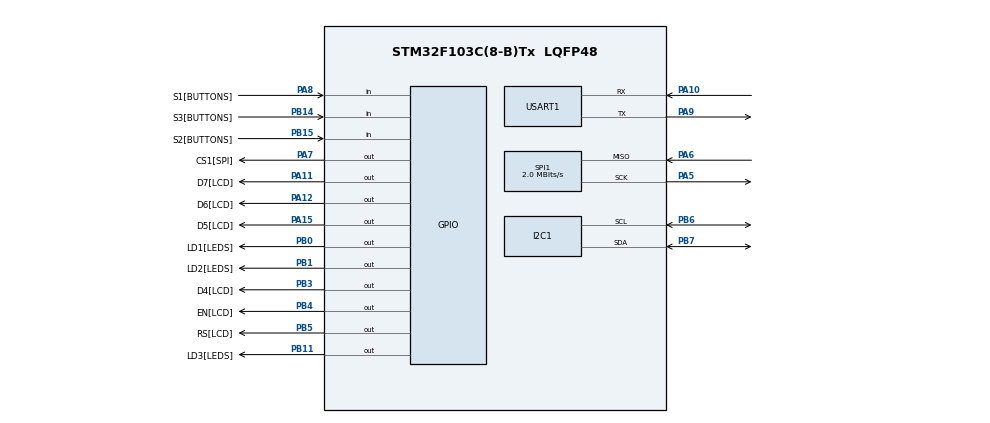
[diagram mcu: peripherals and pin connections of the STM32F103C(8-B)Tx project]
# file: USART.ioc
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I2C1.I2C_Mode=I2C_Standard
Mcu.Family=STM32F1
Mcu.Name=STM32F103C(8-B)Tx
Mcu.Package=LQFP48
NVIC.PriorityGroup=NVIC_PRIORITYGROUP_4
PA10.Mode=Asynchronous
PA10.Signal=USART1_RX
PA11.GPIO_Label=D7[LCD]
PA11.Signal=GPIO_Output
PA12.GPIO_Label=D6[LCD]
PA12.Signal=GPIO_Output
PA13.Mode=Serial_Wire
PA13.Signal=SYS_JTMS-SWDIO
PA14.Mode=Serial_Wire
PA14.Signal=SYS_JTCK-SWCLK
PA15.GPIO_Label=D5[LCD]
PA15.Signal=GPIO_Output
PA5.Mode=RX_Only_Simplex_Unidirect_Master
PA5.Signal=SPI1_SCK
PA6.Mode=RX_Only_Simplex_Unidirect_Master
PA6.Signal=SPI1_MISO
PA7.GPIO_Label=CS1[SPI]
PA7.Signal=GPIO_Output
PA8.GPIO_Label=S1[BUTTONS]
PA8.Signal=GPIO_Input
PA9.Mode=Asynchronous
PA9.Signal=USART1_TX
PB0.GPIO_Label=LD1[LEDS]
PB0.Signal=GPIO_Output
PB1.GPIO_Label=LD2[LEDS]
PB1.Signal=GPIO_Output
PB11.GPIO_Label=LD3[LEDS]
PB11.Signal=GPIO_Output
PB14.GPIO_Label=S3[BUTTONS]
PB14.Signal=GPIO_Input
PB15.GPIO_Label=S2[BUTTONS]
PB15.Signal=GPIO_Input
PB3.GPIO_Label=D4[LCD]
PB3.Signal=GPIO_Output
PB4.GPIO_Label=EN[LCD]
PB4.Signal=GPIO_Output
PB5.GPIO_Label=RS[LCD]
PB5.Signal=GPIO_Output
PB6.Mode=I2C
PB6.Signal=I2C1_SCL
PB7.Mode=I2C
PB7.Signal=I2C1_SDA
ProjectManager.HeapSize=0x200
ProjectManager.StackSize=0x400
ProjectManager.TargetToolchain=TrueSTUDIO
RCC.APB1Freq_Value=8000000
RCC.APB2Freq_Value=8000000
SPI1.BaudRatePrescaler=SPI_BAUDRATEPRESCALER_4
SPI1.CLKPhase=SPI_PHASE_1EDGE
SPI1.CalculateBaudRate=2.0 MBits/s
SPI1.DataSize=SPI_DATASIZE_16BIT
SPI1.Direction=SPI_DIRECTION_2LINES_RXONLY
SPI1.Mode=SPI_MODE_MASTER
SPI1.VirtualType=VM_MASTER
USART1.VirtualMode=VM_ASYNC
board=USART

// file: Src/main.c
/**
  ******************************************************************************
  * @file           : main.c
  * @brief          : Main program body
  ******************************************************************************
  ** This notice applies to any and all portions of this file
  * that are not between comment pairs USER CODE BEGIN and
  * USER CODE END. Other portions of this file, whether
  * inserted by the user or by software development tools
  * are owned by their respective copyright owners.
  *
  * COPYRIGHT(c) 2018 STMicroelectronics
  *
  * Redistribution and use in source and binary forms, with or without modification,
  * are permitted provided that the following conditions are met:
  *   1. Redistributions of source code must retain the above copyright notice,
  *      this list of conditions and the following disclaimer.
  *   2. Redistributions in binary form must reproduce the above copyright notice,
  *      this list of conditions and the following disclaimer in the documentation
  *      and/or other materials provided with the distribution.
  *   3. Neither the name of STMicroelectronics nor the names of its contributors
  *      may be used to endorse or promote products derived from this software
  *      without specific prior written permission.
  *
  * THIS SOFTWARE IS PROVIDED BY THE COPYRIGHT HOLDERS AND CONTRIBUTORS "AS IS"
  * AND ANY EXPRESS OR IMPLIED WARRANTIES, INCLUDING, BUT NOT LIMITED TO, THE
  * IMPLIED WARRANTIES OF MERCHANTABILITY AND FITNESS FOR A PARTICULAR PURPOSE ARE
  * DISCLAIMED. IN NO EVENT SHALL THE COPYRIGHT HOLDER OR CONTRIBUTORS BE LIABLE
  * FOR ANY DIRECT, INDIRECT, INCIDENTAL, SPECIAL, EXEMPLARY, OR CONSEQUENTIAL
  * DAMAGES (INCLUDING, BUT NOT LIMITED TO, PROCUREMENT OF SUBSTITUTE GOODS OR
  * SERVICES; LOSS OF USE, DATA, OR PROFITS; OR BUSINESS INTERRUPTION) HOWEVER
  * CAUSED AND ON ANY THEORY OF LIABILITY, WHETHER IN CONTRACT, STRICT LIABILITY,
  * OR TORT (INCLUDING NEGLIGENCE OR OTHERWISE) ARISING IN ANY WAY OUT OF THE USE
  * OF THIS SOFTWARE, EVEN IF ADVISED OF THE POSSIBILITY OF SUCH DAMAGE.
  *
  ******************************************************************************
  */
#include "main.h"
#include "stm32f1xx_hal.h"

/* USER CODE BEGIN Includes */

#include <stdio.h>      /* printf, fgets */
#include <stdlib.h>     /* atoi */
#include <string.h>

/* USER CODE END Includes */

I2C_HandleTypeDef hi2c1;

SPI_HandleTypeDef hspi1;

UART_HandleTypeDef huart1;

/* USER CODE BEGIN PV */
/* Private variables ---------------------------------------------------------*/

uint8_t data[4]={'D','S','F',10};
uint8_t ex_data[2]={0x40,0x0A};
uint8_t storage[10];
char keyword[20]="LNNANO DSF 2018";
char readBuf[1];
char opt;

/* USER CODE END PV */

void SystemClock_Config(void);
static void MX_GPIO_Init(void);
static void MX_I2C1_Init(void);
static void MX_SPI1_Init(void);
static void MX_USART1_UART_Init(void);

/* USER CODE BEGIN PFP */
/* Private function prototypes -----------------------------------------------*/

char read_uart(){
	HAL_UART_Receive(&huart1, (uint8_t*)readBuf, 1, HAL_MAX_DELAY);
	return atoi(readBuf);
}

/* USER CODE END PFP */

/* USER CODE BEGIN 0 */

void write_lcd (uint8_t data, uint8_t cmd_data)
{
	// identifica comando ou dado
	if (cmd_data) HAL_GPIO_WritePin(RS_GPIO_Port, RS_Pin, GPIO_PIN_SET);
	else 					HAL_GPIO_WritePin(RS_GPIO_Port, RS_Pin, GPIO_PIN_RESET);

	// 4 bits high
	if (data & 0x80) HAL_GPIO_WritePin (D7_GPIO_Port, D7_Pin, GPIO_PIN_SET);
	else						 HAL_GPIO_WritePin (D7_GPIO_Port, D7_Pin, GPIO_PIN_RESET);
	if (data & 0x40) HAL_GPIO_WritePin (D6_GPIO_Port, D6_Pin, GPIO_PIN_SET);
	else						 HAL_GPIO_WritePin (D6_GPIO_Port, D6_Pin, GPIO_PIN_RESET);
	if (data & 0x20) HAL_GPIO_WritePin (D5_GPIO_Port, D5_Pin, GPIO_PIN_SET);
	else						 HAL_GPIO_WritePin (D5_GPIO_Port, D5_Pin, GPIO_PIN_RESET);
	if (data & 0x10) HAL_GPIO_WritePin (D4_GPIO_Port, D4_Pin, GPIO_PIN_SET);
	else						 HAL_GPIO_WritePin (D4_GPIO_Port, D4_Pin, GPIO_PIN_RESET);

	HAL_GPIO_WritePin(EN_GPIO_Port, EN_Pin, GPIO_PIN_SET);
	HAL_Delay(2);
	HAL_GPIO_WritePin(EN_GPIO_Port, EN_Pin, GPIO_PIN_RESET);

	// 4 bits Low
	if (data & 0x08) HAL_GPIO_WritePin (D7_GPIO_Port, D7_Pin, GPIO_PIN_SET);
	else						 HAL_GPIO_WritePin (D7_GPIO_Port, D7_Pin, GPIO_PIN_RESET);
	if (data & 0x04) HAL_GPIO_WritePin (D6_GPIO_Port, D6_Pin, GPIO_PIN_SET);
	else						 HAL_GPIO_WritePin (D6_GPIO_Port, D6_Pin, GPIO_PIN_RESET);
	if (data & 0x02) HAL_GPIO_WritePin (D5_GPIO_Port, D5_Pin, GPIO_PIN_SET);
	else						 HAL_GPIO_WritePin (D5_GPIO_Port, D5_Pin, GPIO_PIN_RESET);
	if (data & 0x01) HAL_GPIO_WritePin (D4_GPIO_Port, D4_Pin, GPIO_PIN_SET);
	else						 HAL_GPIO_WritePin (D4_GPIO_Port, D4_Pin, GPIO_PIN_RESET);

	HAL_GPIO_WritePin(EN_GPIO_Port, EN_Pin, GPIO_PIN_SET);
	HAL_Delay(2);
	HAL_GPIO_WritePin(EN_GPIO_Port, EN_Pin, GPIO_PIN_RESET);
}

/* init_LCD - Inicializa o display em 4bits */
void init_lcd(void)
{
	write_lcd(0x33, 0);
	write_lcd(0x32, 0);
	write_lcd(0x28, 0);
	write_lcd(0x06, 0);
	write_lcd(0x0C, 0);
	write_lcd(0x01, 0);
}

/* string_lcd - escreve string no LCD */
void string_lcd (char *string)
{
	while(*string) write_lcd(*string++, 1);
}

/* USER CODE END 0 */

int main(void)
{

  /* MCU Configuration----------------------------------------------------------*/

  /* Reset of all peripherals, Initializes the Flash interface and the Systick. */
  HAL_Init();

  /* Configure the system clock */
  SystemClock_Config();

  /* Initialize all configured peripherals */
  MX_GPIO_Init();
  MX_I2C1_Init();
  MX_SPI1_Init();
  MX_USART1_UART_Init();
  /* USER CODE BEGIN 2 */

  init_lcd();
  write_lcd(0x84,0);
  string_lcd("DSF 2018");
  write_lcd(0xC5,0);
  string_lcd("LNNANO");

  HAL_I2C_Master_Transmit(&hi2c1,0x40,ex_data,2,100);

  HAL_UART_Transmit(&huart1,(uint8_t*)keyword,20,100);

  /* USER CODE END 2 */

  /* Infinite loop */
  while (1)
  {

  /* USER CODE BEGIN 3 */

		  HAL_GPIO_WritePin(LD1_GPIO_Port,LD1_Pin,GPIO_PIN_RESET);

  }
  /* USER CODE END 3 */

}

void SystemClock_Config(void)
{

  RCC_OscInitTypeDef RCC_OscInitStruct;
  RCC_ClkInitTypeDef RCC_ClkInitStruct;

    /**Initializes the CPU, AHB and APB busses clocks
    */
  RCC_OscInitStruct.OscillatorType = RCC_OSCILLATORTYPE_HSI;
  RCC_OscInitStruct.HSIState = RCC_HSI_ON;
  RCC_OscInitStruct.HSICalibrationValue = 16;
  RCC_OscInitStruct.PLL.PLLState = RCC_PLL_NONE;
  if (HAL_RCC_OscConfig(&RCC_OscInitStruct) != HAL_OK)
  {
    _Error_Handler(__FILE__, __LINE__);
  }

    /**Initializes the CPU, AHB and APB busses clocks
    */
  RCC_ClkInitStruct.ClockType = RCC_CLOCKTYPE_HCLK|RCC_CLOCKTYPE_SYSCLK
                              |RCC_CLOCKTYPE_PCLK1|RCC_CLOCKTYPE_PCLK2;
  RCC_ClkInitStruct.SYSCLKSource = RCC_SYSCLKSOURCE_HSI;
  RCC_ClkInitStruct.AHBCLKDivider = RCC_SYSCLK_DIV1;
  RCC_ClkInitStruct.APB1CLKDivider = RCC_HCLK_DIV1;
  RCC_ClkInitStruct.APB2CLKDivider = RCC_HCLK_DIV1;

  if (HAL_RCC_ClockConfig(&RCC_ClkInitStruct, FLASH_LATENCY_0) != HAL_OK)
  {
    _Error_Handler(__FILE__, __LINE__);
  }

    /**Configure the Systick interrupt time
    */
  HAL_SYSTICK_Config(HAL_RCC_GetHCLKFreq()/1000);

    /**Configure the Systick
    */
  HAL_SYSTICK_CLKSourceConfig(SYSTICK_CLKSOURCE_HCLK);

  /* SysTick_IRQn interrupt configuration */
  HAL_NVIC_SetPriority(SysTick_IRQn, 0, 0);
}

/* I2C1 init function */
static void MX_I2C1_Init(void)
{

  hi2c1.Instance = I2C1;
  hi2c1.Init.ClockSpeed = 100000;
  hi2c1.Init.DutyCycle = I2C_DUTYCYCLE_2;
  hi2c1.Init.OwnAddress1 = 0;
  hi2c1.Init.AddressingMode = I2C_ADDRESSINGMODE_7BIT;
  hi2c1.Init.DualAddressMode = I2C_DUALADDRESS_DISABLE;
  hi2c1.Init.OwnAddress2 = 0;
  hi2c1.Init.GeneralCallMode = I2C_GENERALCALL_DISABLE;
  hi2c1.Init.NoStretchMode = I2C_NOSTRETCH_DISABLE;
  if (HAL_I2C_Init(&hi2c1) != HAL_OK)
  {
    _Error_Handler(__FILE__, __LINE__);
  }

}

/* SPI1 init function */
static void MX_SPI1_Init(void)
{

  /* SPI1 parameter configuration*/
  hspi1.Instance = SPI1;
  hspi1.Init.Mode = SPI_MODE_MASTER;
  hspi1.Init.Direction = SPI_DIRECTION_2LINES_RXONLY;
  hspi1.Init.DataSize = SPI_DATASIZE_16BIT;
  hspi1.Init.CLKPolarity = SPI_POLARITY_LOW;
  hspi1.Init.CLKPhase = SPI_PHASE_1EDGE;
  hspi1.Init.NSS = SPI_NSS_SOFT;
  hspi1.Init.BaudRatePrescaler = SPI_BAUDRATEPRESCALER_4;
  hspi1.Init.FirstBit = SPI_FIRSTBIT_MSB;
  hspi1.Init.TIMode = SPI_TIMODE_DISABLE;
  hspi1.Init.CRCCalculation = SPI_CRCCALCULATION_DISABLE;
  hspi1.Init.CRCPolynomial = 10;
  if (HAL_SPI_Init(&hspi1) != HAL_OK)
  {
    _Error_Handler(__FILE__, __LINE__);
  }

}

/* USART1 init function */
static void MX_USART1_UART_Init(void)
{

  huart1.Instance = USART1;
  huart1.Init.BaudRate = 115200;
  huart1.Init.WordLength = UART_WORDLENGTH_8B;
  huart1.Init.StopBits = UART_STOPBITS_1;
  huart1.Init.Parity = UART_PARITY_NONE;
  huart1.Init.Mode = UART_MODE_TX_RX;
  huart1.Init.HwFlowCtl = UART_HWCONTROL_NONE;
  huart1.Init.OverSampling = UART_OVERSAMPLING_16;
  if (HAL_UART_Init(&huart1) != HAL_OK)
  {
    _Error_Handler(__FILE__, __LINE__);
  }

}

/** Configure pins as
        * Analog
        * Input
        * Output
        * EVENT_OUT
        * EXTI
*/
static void MX_GPIO_Init(void)
{

  GPIO_InitTypeDef GPIO_InitStruct;

  /* GPIO Ports Clock Enable */
  __HAL_RCC_GPIOA_CLK_ENABLE();
  __HAL_RCC_GPIOB_CLK_ENABLE();

  /*Configure GPIO pin Output Level */
  HAL_GPIO_WritePin(GPIOA, CS1_Pin|D7_Pin|D6_Pin|D5_Pin, GPIO_PIN_RESET);

  /*Configure GPIO pin Output Level */
  HAL_GPIO_WritePin(GPIOB, LD1_Pin|LD2_Pin|LD3_Pin|D4_Pin
                          |EN_Pin|RS_Pin, GPIO_PIN_RESET);

  /*Configure GPIO pins : CS1_Pin D7_Pin D6_Pin D5_Pin */
  GPIO_InitStruct.Pin = CS1_Pin|D7_Pin|D6_Pin|D5_Pin;
  GPIO_InitStruct.Mode = GPIO_MODE_OUTPUT_PP;
  GPIO_InitStruct.Speed = GPIO_SPEED_FREQ_LOW;
  HAL_GPIO_Init(GPIOA, &GPIO_InitStruct);

  /*Configure GPIO pins : LD1_Pin LD2_Pin LD3_Pin D4_Pin
                           EN_Pin RS_Pin */
  GPIO_InitStruct.Pin = LD1_Pin|LD2_Pin|LD3_Pin|D4_Pin
                          |EN_Pin|RS_Pin;
  GPIO_InitStruct.Mode = GPIO_MODE_OUTPUT_PP;
  GPIO_InitStruct.Speed = GPIO_SPEED_FREQ_LOW;
  HAL_GPIO_Init(GPIOB, &GPIO_InitStruct);

  /*Configure GPIO pins : S3_Pin S2_Pin */
  GPIO_InitStruct.Pin = S3_Pin|S2_Pin;
  GPIO_InitStruct.Mode = GPIO_MODE_INPUT;
  GPIO_InitStruct.Pull = GPIO_NOPULL;
  HAL_GPIO_Init(GPIOB, &GPIO_InitStruct);

  /*Configure GPIO pin : S1_Pin */
  GPIO_InitStruct.Pin = S1_Pin;
  GPIO_InitStruct.Mode = GPIO_MODE_INPUT;
  GPIO_InitStruct.Pull = GPIO_NOPULL;
  HAL_GPIO_Init(S1_GPIO_Port, &GPIO_InitStruct);

}

void _Error_Handler(char *file, int line)
{
  while(1)
  {
  }
}

/************************ (C) COPYRIGHT STMicroelectronics *****END OF FILE****/
